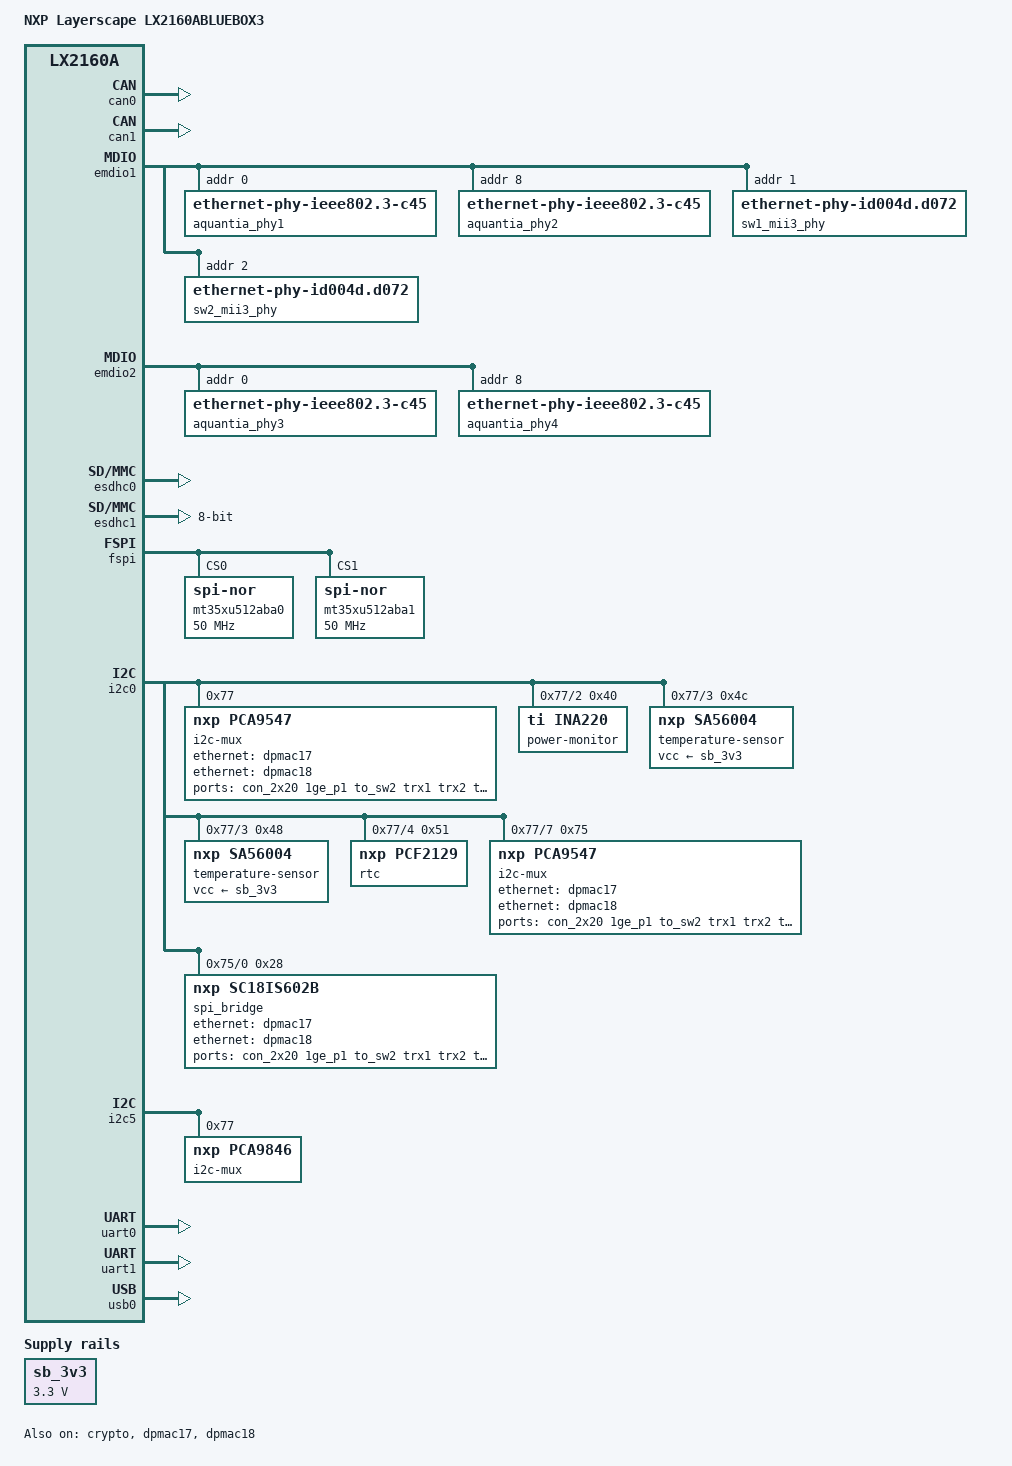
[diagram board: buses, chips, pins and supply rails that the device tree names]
// SPDX-License-Identifier: (GPL-2.0 OR MIT)
//
// Device Tree file for LX2160A BLUEBOX3
//
// Copyright 2020 NXP

/dts-v1/;

#include "fsl-lx2160a.dtsi"

/ {
	model = "NXP Layerscape LX2160ABLUEBOX3";
	compatible = "fsl,lx2160a-rdb", "fsl,lx2160a";

	aliases {
		crypto = &crypto;
		serial0 = &uart0;
	};

	chosen {
		stdout-path = "serial0:115200n8";
	};

	sb_3v3: regulator-sb3v3 {
		compatible = "regulator-fixed";
		regulator-name = "MC34717-3.3VSB";
		regulator-min-microvolt = <3300000>;
		regulator-max-microvolt = <3300000>;
		regulator-boot-on;
		regulator-always-on;
	};
};

&can0 {
	status = "okay";

	can-transceiver {
		max-bitrate = <5000000>;
	};
};

&can1 {
	status = "okay";

	can-transceiver {
		max-bitrate = <5000000>;
	};
};

&crypto {
	status = "okay";
};

&emdio1 {
	status = "okay";
};

&emdio2 {
	status = "okay";
};

&esdhc0 {
	sd-uhs-sdr104;
	sd-uhs-sdr50;
	sd-uhs-sdr25;
	sd-uhs-sdr12;
	status = "okay";
};

&esdhc1 {
	mmc-hs200-1_8v;
	mmc-hs400-1_8v;
	bus-width = <8>;
	status = "okay";
};

&fspi {
	status = "okay";

	mt35xu512aba0: flash@0 {
		#address-cells = <1>;
		#size-cells = <1>;
		compatible = "jedec,spi-nor";
		m25p,fast-read;
		spi-max-frequency = <50000000>;
		reg = <0>;
		spi-rx-bus-width = <8>;
		spi-tx-bus-width = <8>;
	};

	mt35xu512aba1: flash@1 {
		#address-cells = <1>;
		#size-cells = <1>;
		compatible = "jedec,spi-nor";
		m25p,fast-read;
		spi-max-frequency = <50000000>;
		reg = <1>;
		spi-rx-bus-width = <8>;
		spi-tx-bus-width = <8>;
	};
};

&i2c0 {
	status = "okay";

	i2c-mux@77 {
		compatible = "nxp,pca9547";
		reg = <0x77>;
		#address-cells = <1>;
		#size-cells = <0>;

		i2c@1 {
			#address-cells = <1>;
			#size-cells = <0>;
			reg = <0x1>;
			// TODO: Add entries for EMC2305

		};

		i2c@2 {
			#address-cells = <1>;
			#size-cells = <0>;
			reg = <0x2>;

			power-monitor@40 {
				compatible = "ti,ina220";
				reg = <0x40>;
				shunt-resistor = <500>;
			};
		};

		i2c@3 {
			#address-cells = <1>;
			#size-cells = <0>;
			reg = <0x3>;

			temperature-sensor@4c {
				compatible = "nxp,sa56004";
				reg = <0x4c>;
				vcc-supply = <&sb_3v3>;
			};

			temperature-sensor@48 {
				compatible = "nxp,sa56004";
				reg = <0x48>;
				vcc-supply = <&sb_3v3>;
			};
		};

		i2c@4 {
			#address-cells = <1>;
			#size-cells = <0>;
			reg = <0x4>;

			rtc@51 {
				compatible = "nxp,pcf2129";
				reg = <0x51>;
				// IRQ10_B
				interrupts = <0 150 0x4>;
			};
		};

		i2c@7 {
			#address-cells = <1>;
			#size-cells = <0>;
			reg = <0x7>;

			i2c-mux@75 {
				compatible = "nxp,pca9547";
				reg = <0x75>;
				#address-cells = <1>;
				#size-cells = <0>;

				i2c@0 {
					#address-cells = <1>;
					#size-cells = <0>;
					reg = <0x0>;

					spi_bridge: spi@28 {
						compatible = "nxp,sc18is602b";
						reg = <0x28>;
						#address-cells = <1>;
						#size-cells = <0>;
					};
				};
			};
		};
	};
};

&i2c5 {
	status = "okay";

	i2c-mux@77 {
		compatible = "nxp,pca9846";
		reg = <0x77>;
		#address-cells = <1>;
		#size-cells = <0>;
		// TODO: Add entrier for device connected to mux
	};
};

&spi_bridge {
	/* SW1 */
	ethernet-switch@0 {
		compatible = "nxp,sja1110a";
		reg = <0>;
		spi-max-frequency = <4000000>;
		spi-cpol;
		dsa,member = <0 0>;

		ethernet-ports {
			#address-cells = <1>;
			#size-cells = <0>;

			/* Microcontroller port */
			port@0 {
				reg = <0>;
				status = "disabled";
			};

			/* SW1_P1 */
			port@1 {
				reg = <1>;
				label = "con_2x20";
				phy-mode = "sgmii";

				fixed-link {
					speed = <1000>;
					full-duplex;
				};
			};

			port@2 {
				reg = <2>;
				ethernet = <&dpmac17>;
				phy-mode = "rgmii-id";

				fixed-link {
					speed = <1000>;
					full-duplex;
				};
			};

			port@3 {
				reg = <3>;
				label = "1ge_p1";
				phy-mode = "rgmii-id";
				phy-handle = <&sw1_mii3_phy>;
			};

			port@4 {
				reg = <4>;
				label = "to_sw2";
				phy-mode = "sgmii";

				fixed-link {
					speed = <1000>;
					full-duplex;
				};
			};

			port@5 {
				reg = <5>;
				label = "trx1";
				phy-mode = "internal";
				phy-handle = <&sw1_port5_base_t1_phy>;
			};

			port@6 {
				reg = <6>;
				label = "trx2";
				phy-mode = "internal";
				phy-handle = <&sw1_port6_base_t1_phy>;
			};

			port@7 {
				reg = <7>;
				label = "trx3";
				phy-mode = "internal";
				phy-handle = <&sw1_port7_base_t1_phy>;
			};

			port@8 {
				reg = <8>;
				label = "trx4";
				phy-mode = "internal";
				phy-handle = <&sw1_port8_base_t1_phy>;
			};

			port@9 {
				reg = <9>;
				label = "trx5";
				phy-mode = "internal";
				phy-handle = <&sw1_port9_base_t1_phy>;
			};

			port@a {
				reg = <10>;
				label = "trx6";
				phy-mode = "internal";
				phy-handle = <&sw1_port10_base_t1_phy>;
			};
		};

		mdios {
			#address-cells = <1>;
			#size-cells = <0>;

			mdio@0 {
				reg = <0>;
				compatible = "nxp,sja1110-base-t1-mdio";
				#address-cells = <1>;
				#size-cells = <0>;

				sw1_port5_base_t1_phy: ethernet-phy@1 {
					compatible = "ethernet-phy-ieee802.3-c45";
					reg = <0x1>;
				};

				sw1_port6_base_t1_phy: ethernet-phy@2 {
					compatible = "ethernet-phy-ieee802.3-c45";
					reg = <0x2>;
				};

				sw1_port7_base_t1_phy: ethernet-phy@3 {
					compatible = "ethernet-phy-ieee802.3-c45";
					reg = <0x3>;
				};

				sw1_port8_base_t1_phy: ethernet-phy@4 {
					compatible = "ethernet-phy-ieee802.3-c45";
					reg = <0x4>;
				};

				sw1_port9_base_t1_phy: ethernet-phy@5 {
					compatible = "ethernet-phy-ieee802.3-c45";
					reg = <0x5>;
				};

				sw1_port10_base_t1_phy: ethernet-phy@6 {
					compatible = "ethernet-phy-ieee802.3-c45";
					reg = <0x6>;
				};
			};
		};
	};

	/* SW2 */
	ethernet-switch@2 {
		compatible = "nxp,sja1110a";
		reg = <2>;
		spi-max-frequency = <4000000>;
		spi-cpol;
		dsa,member = <1 1>;

		ethernet-ports {
			#address-cells = <1>;
			#size-cells = <0>;

			/* Microcontroller port */
			port@0 {
				reg = <0>;
				status = "disabled";
			};

			port@1 {
				reg = <1>;
				label = "to_sw1";
				phy-mode = "sgmii";

				fixed-link {
					speed = <1000>;
					full-duplex;
				};
			};

			port@2 {
				reg = <2>;
				ethernet = <&dpmac18>;
				phy-mode = "rgmii-id";

				fixed-link {
					speed = <1000>;
					full-duplex;
				};
			};

			port@3 {
				reg = <3>;
				label = "1ge_p2";
				phy-mode = "rgmii-id";
				phy-handle = <&sw2_mii3_phy>;
			};

			port@4 {
				reg = <4>;
				label = "to_sw3";
				phy-mode = "2500base-x";

				fixed-link {
					speed = <2500>;
					full-duplex;
				};
			};

			port@5 {
				reg = <5>;
				label = "trx7";
				phy-mode = "internal";
				phy-handle = <&sw2_port5_base_t1_phy>;
			};

			port@6 {
				reg = <6>;
				label = "trx8";
				phy-mode = "internal";
				phy-handle = <&sw2_port6_base_t1_phy>;
			};

			port@7 {
				reg = <7>;
				label = "trx9";
				phy-mode = "internal";
				phy-handle = <&sw2_port7_base_t1_phy>;
			};

			port@8 {
				reg = <8>;
				label = "trx10";
				phy-mode = "internal";
				phy-handle = <&sw2_port8_base_t1_phy>;
			};

			port@9 {
				reg = <9>;
				label = "trx11";
				phy-mode = "internal";
				phy-handle = <&sw2_port9_base_t1_phy>;
			};

			port@a {
				reg = <10>;
				label = "trx12";
				phy-mode = "internal";
				phy-handle = <&sw2_port10_base_t1_phy>;
			};
		};

		mdios {
			#address-cells = <1>;
			#size-cells = <0>;

			mdio@0 {
				reg = <0>;
				compatible = "nxp,sja1110-base-t1-mdio";
				#address-cells = <1>;
				#size-cells = <0>;

				sw2_port5_base_t1_phy: ethernet-phy@1 {
					compatible = "ethernet-phy-ieee802.3-c45";
					reg = <0x1>;
				};

				sw2_port6_base_t1_phy: ethernet-phy@2 {
					compatible = "ethernet-phy-ieee802.3-c45";
					reg = <0x2>;
				};

				sw2_port7_base_t1_phy: ethernet-phy@3 {
					compatible = "ethernet-phy-ieee802.3-c45";
					reg = <0x3>;
				};

				sw2_port8_base_t1_phy: ethernet-phy@4 {
					compatible = "ethernet-phy-ieee802.3-c45";
					reg = <0x4>;
				};

				sw2_port9_base_t1_phy: ethernet-phy@5 {
					compatible = "ethernet-phy-ieee802.3-c45";
					reg = <0x5>;
				};

				sw2_port10_base_t1_phy: ethernet-phy@6 {
					compatible = "ethernet-phy-ieee802.3-c45";
					reg = <0x6>;
				};
			};
		};
	};
};

&uart0 {
	status = "okay";
};

&uart1 {
	status = "okay";
};

&usb0 {
	status = "okay";
};

&emdio1 {
	aquantia_phy1: ethernet-phy@0 {
		compatible = "ethernet-phy-ieee802.3-c45";
		reg = <0x0>;
	};

	aquantia_phy2: ethernet-phy@8 {
		compatible = "ethernet-phy-ieee802.3-c45";
		reg = <0x8>;
	};

	sw1_mii3_phy: ethernet-phy@1 {
		/* AR8035 */
		compatible = "ethernet-phy-id004d.d072";
		reg = <0x1>; /* FIXME: 0x5 for Rev. B and C boards */
	};

	sw2_mii3_phy: ethernet-phy@2 {
		/* AR8035 */
		compatible = "ethernet-phy-id004d.d072";
		reg = <0x2>; /* FIXME: 0x6 for Rev. B and C boards */
	};
};

&emdio2 {
	aquantia_phy3: ethernet-phy@0 {
		compatible = "ethernet-phy-ieee802.3-c45";
		reg = <0x0>;
	};

	aquantia_phy4: ethernet-phy@8 {
		compatible = "ethernet-phy-ieee802.3-c45";
		reg = <0x8>;
	};
};

&dpmac5 {
	phy-handle = <&aquantia_phy2>;
	phy-connection-type = "usxgmii";
};

&dpmac6 {
	phy-handle = <&aquantia_phy1>;
	phy-connection-type = "usxgmii";
};

&dpmac9 {
	phy-handle = <&aquantia_phy4>;
	phy-connection-type = "usxgmii";
};

&dpmac10 {
	phy-handle = <&aquantia_phy3>;
	phy-connection-type = "usxgmii";
};

&dpmac17 {
	phy-connection-type = "rgmii";
	status = "okay";

	fixed-link {
		speed = <1000>;
		full-duplex;
	};
};

&dpmac18 {
	phy-connection-type = "rgmii";
	status = "okay";

	fixed-link {
		speed = <1000>;
		full-duplex;
	};
};
